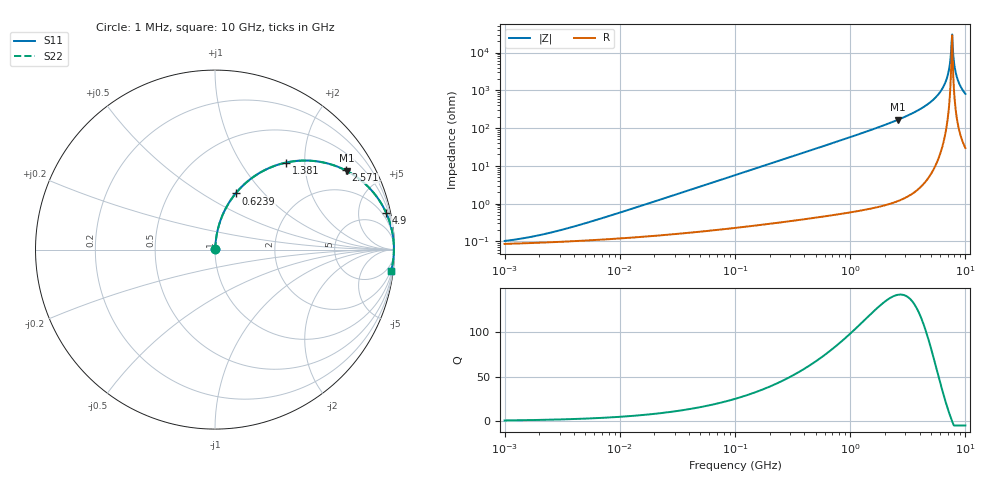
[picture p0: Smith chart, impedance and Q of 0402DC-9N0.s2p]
# MHz  S  MA  R  50
!Freq  MagS11  AngS11  MagS21  AngS21  MagS12  AngS12  MagS22  AngS22
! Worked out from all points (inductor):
!   801 points, 1 MHz to 10 GHz, reference 50 ohm
!   read as one part in series: L = 9 nH near 5.755 MHz
!   highest Q = 142 at 2.601 GHz (marker M1), where L = 10.2 nH
!   self-resonance near 7.589 GHz
!   S11 on the Smith chart (normalised r, x): 1 MHz: 1.00, +0.00; 623.9 MHz: 1.01, +0.71; 1.381 GHz: 1.01, +1.61; 2.571 GHz: 1.02, +3.28; 4.9 GHz: 1.11, +9.38; 10 GHz: 2, -16
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1  0.001026 33.4  0.9991 -0.0  0.9991 -0.0  0.001026 33.4
2.041806  0.001478 51.3  0.9991 -0.1  0.9991 -0.1  0.001478 51.3
4.67769  0.002839 68.4  0.999 -0.2  0.999 -0.2  0.002839 68.4
21.6303  0.0123 82.6  0.9985 -0.7  0.9985 -0.7  0.0123 82.6
100.0216  0.0564 84.5  0.9961 -3.2  0.9961 -3.2  0.0564 84.5
467.8699  0.2557 74.3  0.9628 -14.8  0.9628 -14.8  0.2557 74.3
623.923  0.3333 69.8  0.9384 -19.5  0.9384 -19.5  0.3333 69.8
1380.852  0.6254 50.8  0.7749 -38.7  0.7749 -38.7  0.6254 50.8
2163.497  0.7964 36.8  0.599 -52.8  0.599 -52.8  0.7964 36.8
2571.342  0.851 31.3  0.5193 -58.3  0.5193 -58.3  0.851 31.3
2601.118  0.8543 30.9  0.5138 -58.7  0.5138 -58.7  0.8543 30.9
4899.739  0.9757 12.0  0.208 -77.3  0.208 -77.3  0.9757 12.0
5823.397  0.9894 7.3  0.1268 -81.6  0.1268 -81.6  0.9894 7.3
6533.995  0.9946 4.2  0.07333 -83.7  0.07333 -83.7  0.9946 4.2
7001.324  0.9963 2.4  0.04147 -83.7  0.04147 -83.7  0.9963 2.4
7416.199  0.9969 0.9  0.01515 -77.6  0.01515 -77.6  0.9969 0.9
7676.832  0.9969 -0.1  0.003316 18.4  0.003316 18.4  0.9969 -0.1
7946.626  0.9966 -1.0  0.01726 78.1  0.01726 78.1  0.9966 -1.0
8225.901  0.996 -1.9  0.03302 82.2  0.03302 82.2  0.996 -1.9
8613.594  0.9949 -3.1  0.05418 83.0  0.05418 83.0  0.9949 -3.1
9229.662  0.9923 -4.9  0.08603 82.4  0.08603 82.4  0.9923 -4.9
10000  0.9878 -7.1  0.1231 80.8  0.1231 80.8  0.9878 -7.1
